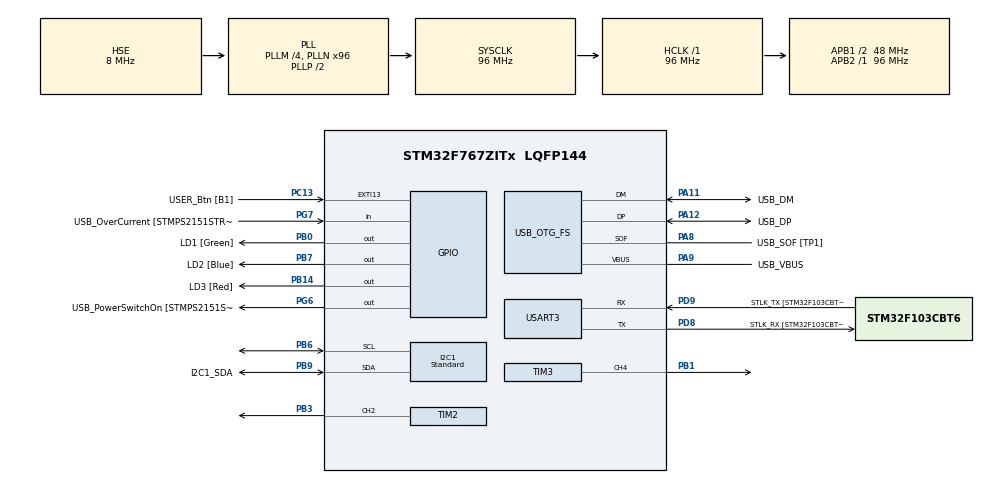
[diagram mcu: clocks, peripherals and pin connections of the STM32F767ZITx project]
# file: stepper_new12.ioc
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Mcu.Family=STM32F7
RCC.CortexFreq_Value=96000000
PG6.Signal=GPIO_Output
NVIC.I2C1_EV_IRQn=true\:0\:0\:false\:false\:true\:true\:true
I2C1.I2C_Speed_Mode=I2C_Standard
PB14.GPIO_Label=LD3 [Red]
PG6.GPIO_Label=USB_PowerSwitchOn [STMPS2151STR_EN]
PA14.GPIO_Label=TCK
RCC.SYSCLKSourceVirtual=RCC_SYSCLKSOURCE_PLLCLK
PA11.Mode=Device_Only
PB0.GPIO_Label=LD1 [Green]
PC14/OSC32_IN.Mode=LSE-External-Oscillator
TIM2.Channel-PWM\ Generation2\ CH2=TIM_CHANNEL_2
PC13.GPIO_Label=USER_Btn [B1]
PD9.Mode=Asynchronous
TIM3.Channel-PWM\ Generation4\ CH4=TIM_CHANNEL_4
RCC.SYSCLKSource=RCC_SYSCLKSOURCE_PLLCLK
ProjectManager.StackSize=0x400
USART3.VirtualMode-Asynchronous=VM_ASYNC
PA12.Signal=USB_OTG_FS_DP
PH0/OSC_IN.Mode=HSE-External-Clock-Source
RCC.HCLKFreq_Value=96000000
RCC.APB2TimFreq_Value=96000000
TIM3.Period=1000
PB6.Signal=I2C1_SCL
PH1/OSC_OUT.Signal=RCC_OSC_OUT
PB6.Mode=I2C
PD8.Signal=USART3_TX
RCC.AHBFreq_Value=96000000
RCC.HSE_VALUE=8000000
RCC.PLLMUL=RCC_PLL_MUL9
PA14.Mode=Serial_Wire
TIM3.Prescaler=96
NVIC.TIM2_IRQn=true\:0\:0\:false\:false\:true\:true\:true
PA10.GPIO_Label=USB_ID
PB7.Signal=GPIO_Output
PA8.Signal=USB_OTG_FS_SOF
NVIC.I2C1_ER_IRQn=true\:0\:0\:false\:false\:true\:true\:true
PH1/OSC_OUT.Mode=HSE-External-Clock-Source
PB7.GPIO_Label=LD2 [Blue]
PB9.Signal=I2C1_SDA
Mcu.Package=LQFP144
TIM2.Prescaler=96
PB1.Signal=S_TIM3_CH4
PC14/OSC32_IN.Signal=RCC_OSC32_IN
PA10.Signal=USB_OTG_FS_ID
USB_OTG_FS.VirtualMode=Device_Only
TIM2.TIM_MasterOutputTrigger=TIM_TRGO_UPDATE
RCC.APB1TimFreq_Value=96000000
PG7.Signal=GPIO_Input
PB9.GPIO_Label=I2C1_SDA
PD9.GPIO_Label=STLK_TX [STM32F103CBT6_PA2]
PC13.Signal=GPXTI13
PA9.GPIO_Label=USB_VBUS
PA11.GPIO_Label=USB_DM
PD9.Signal=USART3_RX
RCC.APB1CLKDivider=RCC_HCLK_DIV2
PA12.GPIO_Label=USB_DP
PD8.GPIO_Label=STLK_RX [STM32F103CBT6_PA3]
PA13.Signal=SYS_JTMS-SWDIO
SH.S_TIM2_CH2.0=TIM2_CH2,PWM Generation2 CH2
PA9.Mode=Activate_VBUS
PA8.GPIO_Label=USB_SOF [TP1]
ProjectManager.TargetToolchain=STM32CubeIDE
PB9.Mode=I2C
PA9.Signal=USB_OTG_FS_VBUS
I2C1.Timing=0x20303E5D
RCC.USBFreq_Value=48000000
PD8.Mode=Asynchronous
PB14.Signal=GPIO_Output
board=NUCLEO-F767ZI
RCC.VCOOutputFreq_Value=192000000
NVIC.TIM3_IRQn=true\:0\:0\:false\:false\:true\:true\:true
PH0/OSC_IN.Signal=RCC_OSC_IN
RCC.APB2Freq_Value=96000000
RCC.PRESCALERUSB=RCC_USBCLKSOURCE_PLL_DIV1_5
PG7.GPIO_Label=USB_OverCurrent [STMPS2151STR_FAULT]
TIM2.Period=1000
PA13.Mode=Serial_Wire
Mcu.Name=STM32F767ZITx
PA13.GPIO_Label=TMS
RCC.48MHZClocksFreq_Value=24000000
PB3.Signal=S_TIM2_CH2
RCC.SYSCLKFreq_VALUE=96000000
PA12.Mode=Device_Only
PC15/OSC32_OUT.Mode=LSE-External-Oscillator
PA11.Signal=USB_OTG_FS_DM
PA14.Signal=SYS_JTCK-SWCLK
ProjectManager.HeapSize=0x200
RCC.HSI_VALUE=16000000
PH0/OSC_IN.GPIO_Label=MCO [STM32F103CBT6_PA8]
RCC.PLLQ=4
NVIC.PriorityGroup=NVIC_PRIORITYGROUP_4
RCC.PLLM=4
RCC.PLLN=96
PC15/OSC32_OUT.Signal=RCC_OSC32_OUT
PA8.Mode=Activate_SOF_FS
TIM3.TIM_MasterOutputTrigger=TIM_TRGO_UPDATE
RCC.APB1Freq_Value=48000000
PB0.Signal=GPIO_Output
SH.S_TIM3_CH4.0=TIM3_CH4,PWM Generation4 CH4

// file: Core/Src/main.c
/* USER CODE BEGIN Header */
/**
  ******************************************************************************
  * @file           : main.c
  * @brief          : Main program body
  ******************************************************************************
  * @attention
  *
  * <h2><center>&copy; Copyright (c) 2021 STMicroelectronics.
  * All rights reserved.</center></h2>
  *
  * This software component is licensed by ST under BSD 3-Clause license,
  * the "License"; You may not use this file except in compliance with the
  * License. You may obtain a copy of the License at:
  *                        opensource.org/licenses/BSD-3-Clause
  *
  ******************************************************************************
  */
/* USER CODE END Header */
#include "main.h"

/* USER CODE BEGIN Includes */
#include "string.h"
#include <stdio.h>

/* USER CODE END Includes */

/* USER CODE BEGIN PTD */

static const uint8_t TMP102_ADDR = 0x36 << 1; // Use 8-bit address
static const uint8_t REG_H_ANGLE = 0x0C;

/* USER CODE END PTD */

I2C_HandleTypeDef hi2c1;

TIM_HandleTypeDef htim2;
TIM_HandleTypeDef htim3;

UART_HandleTypeDef huart3;

PCD_HandleTypeDef hpcd_USB_OTG_FS;

void SystemClock_Config(void);
static void MX_GPIO_Init(void);
static void MX_USART3_UART_Init(void);
static void MX_USB_OTG_FS_PCD_Init(void);
static void MX_TIM3_Init(void);
static void MX_TIM2_Init(void);
static void MX_I2C1_Init(void);

int16_t AS5600_ReadAngle(uint8_t REG_H_ANGLE)
{
    // for the data from sensor
	HAL_StatusTypeDef ret;
	uint8_t buf[2];
//	uint8_t i = 0;
//	int16_t temp = 0;
	int16_t temp1;
//	float temp = 0;
//	float temp1 = 0;

    // Tell TMP102 that we want to read from the temperature register
    buf[0] = REG_H_ANGLE; //high bit

//	for (i = 0; i < 10; i++)
//	{
		ret = HAL_I2C_Master_Transmit(&hi2c1, TMP102_ADDR, &buf, 1, HAL_MAX_DELAY);
		HAL_Delay(5);
		if ( ret != HAL_OK ) {
		  strcpy((char*)buf, "Error Tx\r\n");
		} else {
		  ret = HAL_I2C_Master_Receive(&hi2c1, TMP102_ADDR, buf, 2, HAL_MAX_DELAY);
		  if ( ret != HAL_OK ) {
			strcpy((char*)buf, "Error Rx\r\n");
		  } else {
				temp1 =buf[0]*256+buf[1];
			}
		}
//		HAL_Delay(5);
//	}
//	temp = temp1/10;
	return temp1;
}

int main(void)
{
  /* USER CODE BEGIN 1 */
	uint8_t MSG[35] = {'\0'};
	uint8_t X = 0;

	int val3 = 0;

    float Deg = 0.0;
    float T2D = 360.0/4096.0;
  /* USER CODE END 1 */

  /* MCU Configuration--------------------------------------------------------*/

  /* Reset of all peripherals, Initializes the Flash interface and the Systick. */
  HAL_Init();

  /* Configure the system clock */
  SystemClock_Config();

  /* Initialize all configured peripherals */
  MX_GPIO_Init();
  MX_USART3_UART_Init();
  MX_USB_OTG_FS_PCD_Init();
  MX_TIM3_Init();
  MX_TIM2_Init();
  MX_I2C1_Init();
  /* USER CODE BEGIN 2 */

  HAL_TIM_PWM_Start_IT(&htim3, TIM_CHANNEL_4); // start pwm generation in interuption mode
  TIM3->CCR4 = 500; // set % of signal, max is 1000 (speed for stepper)

  /* USER CODE END 2 */

  /* Infinite loop */
  /* USER CODE BEGIN WHILE */
  while (1)
  {
	  HAL_GPIO_WritePin(I2C1_SDA_GPIO_Port, I2C1_SDA_Pin, GPIO_PIN_SET);
	  HAL_Delay(500);
	  X = HAL_GPIO_ReadPin(I2C1_SDA_GPIO_Port, I2C1_SDA_Pin);

	  HAL_Delay(300);
	  val3 = AS5600_ReadAngle(REG_H_ANGLE);
	  // Convert to degree format

	  Deg = val3 * T2D;

	  sprintf(MSG, "DATA Coming .. %d\r\n", Deg);
//	  HAL_UART_Transmit_IT(&huart3, (uint8_t*)MSG, strlen(buff));

	  HAL_UART_Transmit(&huart3, MSG, strlen((char*)MSG), HAL_MAX_DELAY);
      /* USER CODE END WHILE */
      /* USER CODE BEGIN 3 */
	  HAL_GPIO_TogglePin(LD2_GPIO_Port, LD2_Pin);
	  HAL_Delay(500);
  }
  /* USER CODE END 3 */
}

void SystemClock_Config(void)
{
  RCC_OscInitTypeDef RCC_OscInitStruct = {0};
  RCC_ClkInitTypeDef RCC_ClkInitStruct = {0};
  RCC_PeriphCLKInitTypeDef PeriphClkInitStruct = {0};

  /** Configure LSE Drive Capability
  */
  HAL_PWR_EnableBkUpAccess();
  /** Configure the main internal regulator output voltage
  */
  __HAL_RCC_PWR_CLK_ENABLE();
  __HAL_PWR_VOLTAGESCALING_CONFIG(PWR_REGULATOR_VOLTAGE_SCALE3);
  /** Initializes the RCC Oscillators according to the specified parameters
  * in the RCC_OscInitTypeDef structure.
  */
  RCC_OscInitStruct.OscillatorType = RCC_OSCILLATORTYPE_HSE;
  RCC_OscInitStruct.HSEState = RCC_HSE_BYPASS;
  RCC_OscInitStruct.PLL.PLLState = RCC_PLL_ON;
  RCC_OscInitStruct.PLL.PLLSource = RCC_PLLSOURCE_HSE;
  RCC_OscInitStruct.PLL.PLLM = 4;
  RCC_OscInitStruct.PLL.PLLN = 96;
  RCC_OscInitStruct.PLL.PLLP = RCC_PLLP_DIV2;
  RCC_OscInitStruct.PLL.PLLQ = 4;
  if (HAL_RCC_OscConfig(&RCC_OscInitStruct) != HAL_OK)
  {
    Error_Handler();
  }
  /** Activate the Over-Drive mode
  */
  if (HAL_PWREx_EnableOverDrive() != HAL_OK)
  {
    Error_Handler();
  }
  /** Initializes the CPU, AHB and APB buses clocks
  */
  RCC_ClkInitStruct.ClockType = RCC_CLOCKTYPE_HCLK|RCC_CLOCKTYPE_SYSCLK
                              |RCC_CLOCKTYPE_PCLK1|RCC_CLOCKTYPE_PCLK2;
  RCC_ClkInitStruct.SYSCLKSource = RCC_SYSCLKSOURCE_PLLCLK;
  RCC_ClkInitStruct.AHBCLKDivider = RCC_SYSCLK_DIV1;
  RCC_ClkInitStruct.APB1CLKDivider = RCC_HCLK_DIV2;
  RCC_ClkInitStruct.APB2CLKDivider = RCC_HCLK_DIV1;

  if (HAL_RCC_ClockConfig(&RCC_ClkInitStruct, FLASH_LATENCY_3) != HAL_OK)
  {
    Error_Handler();
  }
  PeriphClkInitStruct.PeriphClockSelection = RCC_PERIPHCLK_USART3|RCC_PERIPHCLK_I2C1
                              |RCC_PERIPHCLK_CLK48;
  PeriphClkInitStruct.Usart3ClockSelection = RCC_USART3CLKSOURCE_PCLK1;
  PeriphClkInitStruct.I2c1ClockSelection = RCC_I2C1CLKSOURCE_PCLK1;
  PeriphClkInitStruct.Clk48ClockSelection = RCC_CLK48SOURCE_PLL;
  if (HAL_RCCEx_PeriphCLKConfig(&PeriphClkInitStruct) != HAL_OK)
  {
    Error_Handler();
  }
}

static void MX_I2C1_Init(void)
{

  hi2c1.Instance = I2C1;
  hi2c1.Init.Timing = 0x20303E5D;
  hi2c1.Init.OwnAddress1 = 0;
  hi2c1.Init.AddressingMode = I2C_ADDRESSINGMODE_7BIT;
  hi2c1.Init.DualAddressMode = I2C_DUALADDRESS_DISABLE;
  hi2c1.Init.OwnAddress2 = 0;
  hi2c1.Init.OwnAddress2Masks = I2C_OA2_NOMASK;
  hi2c1.Init.GeneralCallMode = I2C_GENERALCALL_DISABLE;
  hi2c1.Init.NoStretchMode = I2C_NOSTRETCH_DISABLE;
  if (HAL_I2C_Init(&hi2c1) != HAL_OK)
  {
    Error_Handler();
  }
  /** Configure Analogue filter
  */
  if (HAL_I2CEx_ConfigAnalogFilter(&hi2c1, I2C_ANALOGFILTER_ENABLE) != HAL_OK)
  {
    Error_Handler();
  }
  /** Configure Digital filter
  */
  if (HAL_I2CEx_ConfigDigitalFilter(&hi2c1, 0) != HAL_OK)
  {
    Error_Handler();
  }

}

static void MX_TIM2_Init(void)
{

  TIM_MasterConfigTypeDef sMasterConfig = {0};
  TIM_OC_InitTypeDef sConfigOC = {0};

  htim2.Instance = TIM2;
  htim2.Init.Prescaler = 96;
  htim2.Init.CounterMode = TIM_COUNTERMODE_UP;
  htim2.Init.Period = 1000;
  htim2.Init.ClockDivision = TIM_CLOCKDIVISION_DIV1;
  htim2.Init.AutoReloadPreload = TIM_AUTORELOAD_PRELOAD_DISABLE;
  if (HAL_TIM_PWM_Init(&htim2) != HAL_OK)
  {
    Error_Handler();
  }
  sMasterConfig.MasterOutputTrigger = TIM_TRGO_UPDATE;
  sMasterConfig.MasterSlaveMode = TIM_MASTERSLAVEMODE_DISABLE;
  if (HAL_TIMEx_MasterConfigSynchronization(&htim2, &sMasterConfig) != HAL_OK)
  {
    Error_Handler();
  }
  sConfigOC.OCMode = TIM_OCMODE_PWM1;
  sConfigOC.Pulse = 0;
  sConfigOC.OCPolarity = TIM_OCPOLARITY_HIGH;
  sConfigOC.OCFastMode = TIM_OCFAST_DISABLE;
  if (HAL_TIM_PWM_ConfigChannel(&htim2, &sConfigOC, TIM_CHANNEL_2) != HAL_OK)
  {
    Error_Handler();
  }
  HAL_TIM_MspPostInit(&htim2);

}

static void MX_TIM3_Init(void)
{

  TIM_MasterConfigTypeDef sMasterConfig = {0};
  TIM_OC_InitTypeDef sConfigOC = {0};

  htim3.Instance = TIM3;
  htim3.Init.Prescaler = 96;
  htim3.Init.CounterMode = TIM_COUNTERMODE_UP;
  htim3.Init.Period = 1000;
  htim3.Init.ClockDivision = TIM_CLOCKDIVISION_DIV1;
  htim3.Init.AutoReloadPreload = TIM_AUTORELOAD_PRELOAD_DISABLE;
  if (HAL_TIM_PWM_Init(&htim3) != HAL_OK)
  {
    Error_Handler();
  }
  sMasterConfig.MasterOutputTrigger = TIM_TRGO_UPDATE;
  sMasterConfig.MasterSlaveMode = TIM_MASTERSLAVEMODE_DISABLE;
  if (HAL_TIMEx_MasterConfigSynchronization(&htim3, &sMasterConfig) != HAL_OK)
  {
    Error_Handler();
  }
  sConfigOC.OCMode = TIM_OCMODE_PWM1;
  sConfigOC.Pulse = 0;
  sConfigOC.OCPolarity = TIM_OCPOLARITY_HIGH;
  sConfigOC.OCFastMode = TIM_OCFAST_DISABLE;
  if (HAL_TIM_PWM_ConfigChannel(&htim3, &sConfigOC, TIM_CHANNEL_4) != HAL_OK)
  {
    Error_Handler();
  }
  HAL_TIM_MspPostInit(&htim3);

}

static void MX_USART3_UART_Init(void)
{

  huart3.Instance = USART3;
  huart3.Init.BaudRate = 115200;
  huart3.Init.WordLength = UART_WORDLENGTH_8B;
  huart3.Init.StopBits = UART_STOPBITS_1;
  huart3.Init.Parity = UART_PARITY_NONE;
  huart3.Init.Mode = UART_MODE_TX_RX;
  huart3.Init.HwFlowCtl = UART_HWCONTROL_NONE;
  huart3.Init.OverSampling = UART_OVERSAMPLING_16;
  huart3.Init.OneBitSampling = UART_ONE_BIT_SAMPLE_DISABLE;
  huart3.AdvancedInit.AdvFeatureInit = UART_ADVFEATURE_NO_INIT;
  if (HAL_UART_Init(&huart3) != HAL_OK)
  {
    Error_Handler();
  }

}

static void MX_USB_OTG_FS_PCD_Init(void)
{

  hpcd_USB_OTG_FS.Instance = USB_OTG_FS;
  hpcd_USB_OTG_FS.Init.dev_endpoints = 6;
  hpcd_USB_OTG_FS.Init.speed = PCD_SPEED_FULL;
  hpcd_USB_OTG_FS.Init.dma_enable = DISABLE;
  hpcd_USB_OTG_FS.Init.phy_itface = PCD_PHY_EMBEDDED;
  hpcd_USB_OTG_FS.Init.Sof_enable = ENABLE;
  hpcd_USB_OTG_FS.Init.low_power_enable = DISABLE;
  hpcd_USB_OTG_FS.Init.lpm_enable = DISABLE;
  hpcd_USB_OTG_FS.Init.vbus_sensing_enable = ENABLE;
  hpcd_USB_OTG_FS.Init.use_dedicated_ep1 = DISABLE;
  if (HAL_PCD_Init(&hpcd_USB_OTG_FS) != HAL_OK)
  {
    Error_Handler();
  }

}

static void MX_GPIO_Init(void)
{
  GPIO_InitTypeDef GPIO_InitStruct = {0};

  /* GPIO Ports Clock Enable */
  __HAL_RCC_GPIOC_CLK_ENABLE();
  __HAL_RCC_GPIOH_CLK_ENABLE();
  __HAL_RCC_GPIOB_CLK_ENABLE();
  __HAL_RCC_GPIOD_CLK_ENABLE();
  __HAL_RCC_GPIOG_CLK_ENABLE();
  __HAL_RCC_GPIOA_CLK_ENABLE();

  /*Configure GPIO pin Output Level */
  HAL_GPIO_WritePin(GPIOB, LD1_Pin|LD3_Pin|LD2_Pin, GPIO_PIN_RESET);

  /*Configure GPIO pin Output Level */
  HAL_GPIO_WritePin(USB_PowerSwitchOn_GPIO_Port, USB_PowerSwitchOn_Pin, GPIO_PIN_RESET);

  /*Configure GPIO pin : USER_Btn_Pin */
  GPIO_InitStruct.Pin = USER_Btn_Pin;
  GPIO_InitStruct.Mode = GPIO_MODE_IT_RISING;
  GPIO_InitStruct.Pull = GPIO_NOPULL;
  HAL_GPIO_Init(USER_Btn_GPIO_Port, &GPIO_InitStruct);

  /*Configure GPIO pins : LD1_Pin LD3_Pin LD2_Pin */
  GPIO_InitStruct.Pin = LD1_Pin|LD3_Pin|LD2_Pin;
  GPIO_InitStruct.Mode = GPIO_MODE_OUTPUT_PP;
  GPIO_InitStruct.Pull = GPIO_NOPULL;
  GPIO_InitStruct.Speed = GPIO_SPEED_FREQ_LOW;
  HAL_GPIO_Init(GPIOB, &GPIO_InitStruct);

  /*Configure GPIO pin : USB_PowerSwitchOn_Pin */
  GPIO_InitStruct.Pin = USB_PowerSwitchOn_Pin;
  GPIO_InitStruct.Mode = GPIO_MODE_OUTPUT_PP;
  GPIO_InitStruct.Pull = GPIO_NOPULL;
  GPIO_InitStruct.Speed = GPIO_SPEED_FREQ_LOW;
  HAL_GPIO_Init(USB_PowerSwitchOn_GPIO_Port, &GPIO_InitStruct);

  /*Configure GPIO pin : USB_OverCurrent_Pin */
  GPIO_InitStruct.Pin = USB_OverCurrent_Pin;
  GPIO_InitStruct.Mode = GPIO_MODE_INPUT;
  GPIO_InitStruct.Pull = GPIO_NOPULL;
  HAL_GPIO_Init(USB_OverCurrent_GPIO_Port, &GPIO_InitStruct);

}

void Error_Handler(void)
{
  __disable_irq();
  while (1)
  {
  }
}

/************************ (C) COPYRIGHT STMicroelectronics *****END OF FILE****/
